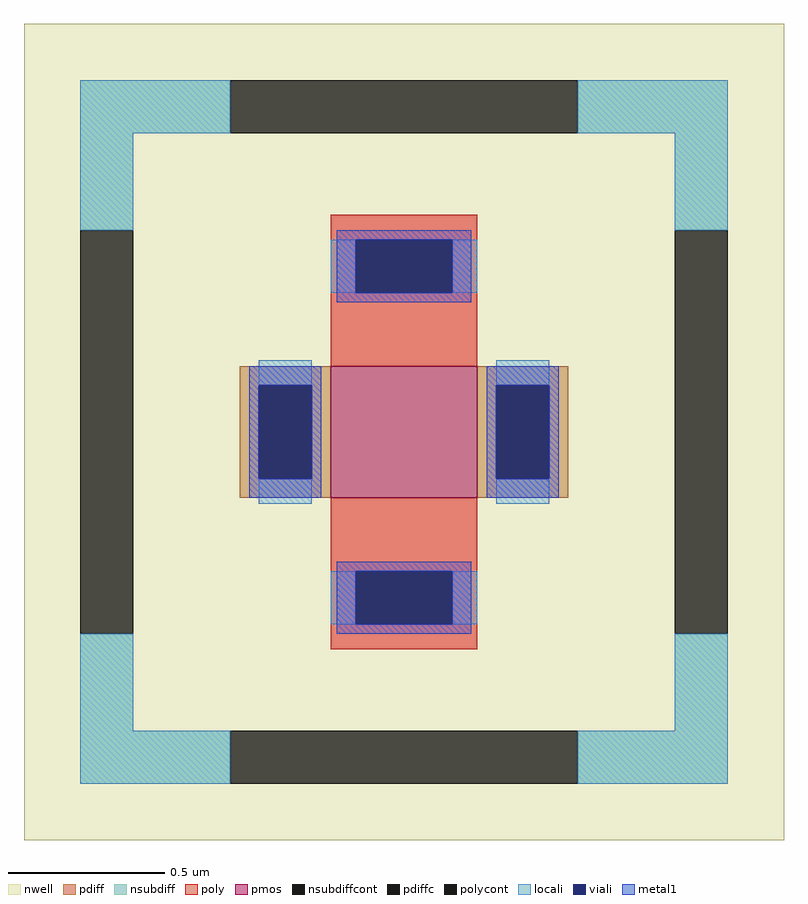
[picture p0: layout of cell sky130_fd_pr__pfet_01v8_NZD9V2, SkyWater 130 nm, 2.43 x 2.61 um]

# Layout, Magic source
magic
tech sky130A
magscale 1 2
<< nwell >>
rect -243 -261 243 261
<< pmos >>
rect -47 -42 47 42
<< pdiff >>
rect -105 30 -47 42
rect -105 -30 -93 30
rect -59 -30 -47 30
rect -105 -42 -47 -30
rect 47 30 105 42
rect 47 -30 59 30
rect 93 -30 105 30
rect 47 -42 105 -30
<< pdiffc >>
rect -93 -30 -59 30
rect 59 -30 93 30
<< nsubdiff >>
rect -207 191 -111 225
rect 111 191 207 225
rect -207 129 -173 191
rect 173 129 207 191
rect -207 -191 -173 -129
rect 173 -191 207 -129
rect -207 -225 -111 -191
rect 111 -225 207 -191
<< nsubdiffcont >>
rect -111 191 111 225
rect -207 -129 -173 129
rect 173 -129 207 129
rect -111 -225 111 -191
<< poly >>
rect -47 123 47 139
rect -47 89 -31 123
rect 31 89 47 123
rect -47 42 47 89
rect -47 -89 47 -42
rect -47 -123 -31 -89
rect 31 -123 47 -89
rect -47 -139 47 -123
<< polycont >>
rect -31 89 31 123
rect -31 -123 31 -89
<< locali >>
rect -207 191 -111 225
rect 111 191 207 225
rect -207 129 -173 191
rect 173 129 207 191
rect -47 89 -31 123
rect 31 89 47 123
rect -93 30 -59 46
rect -93 -46 -59 -30
rect 59 30 93 46
rect 59 -46 93 -30
rect -47 -123 -31 -89
rect 31 -123 47 -89
rect -207 -191 -173 -129
rect 173 -191 207 -129
rect -207 -225 -111 -191
rect 111 -225 207 -191
<< viali >>
rect -31 89 31 123
rect -93 -30 -59 30
rect 59 -30 93 30
rect -31 -123 31 -89
<< metal1 >>
rect -43 123 43 129
rect -43 89 -31 123
rect 31 89 43 123
rect -43 83 43 89
rect -99 30 -53 42
rect -99 -30 -93 30
rect -59 -30 -53 30
rect -99 -42 -53 -30
rect 53 30 99 42
rect 53 -30 59 30
rect 93 -30 99 30
rect 53 -42 99 -30
rect -43 -89 43 -83
rect -43 -123 -31 -89
rect 31 -123 43 -89
rect -43 -129 43 -123
<< properties >>
string FIXED_BBOX -190 -208 190 208
string gencell sky130_fd_pr__pfet_01v8
string library sky130
string parameters w 0.42 l 0.47 m 1 nf 1 diffcov 100 polycov 100 guard 1 glc 1 grc 1 gtc 1 gbc 1 tbcov 100 rlcov 100 topc 1 botc 1 poverlap 0 doverlap 1 lmin 0.15 wmin 0.42 compatible {sky130_fd_pr__pfet_01v8  sky130_fd_pr__pfet_01v8_lvt sky130_fd_pr__pfet_01v8_hvt  sky130_fd_pr__pfet_g5v0d10v5} full_metal 1 viasrc 100 viadrn 100 viagate 100 viagb 0 viagr 0 viagl 0 viagt 0
<< end >>
